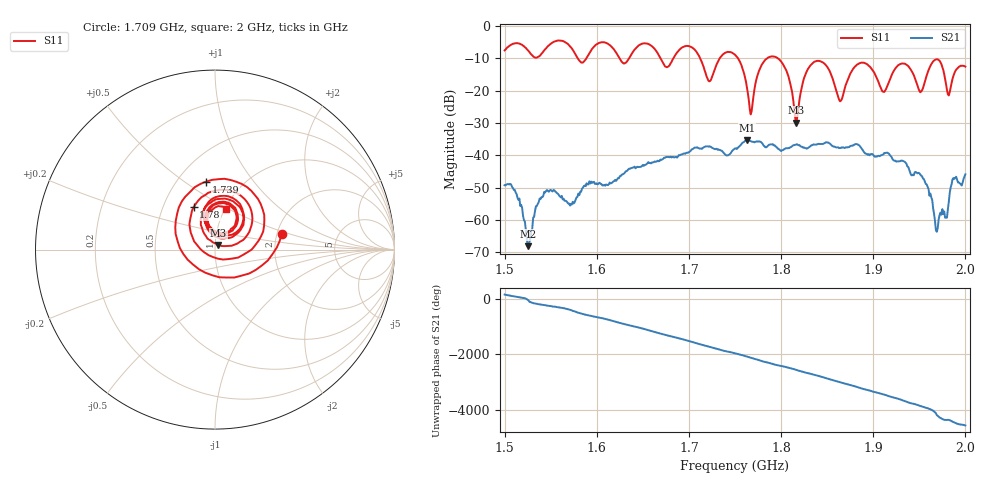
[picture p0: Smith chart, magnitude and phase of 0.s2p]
! NanoVNA-App by SYSJOINT et al v1.1.209 (+OD18)
! Date: 2026-01-21 14:25:08
! Start: 1,5GHz Stop: 2GHz Points: 501
! S-Parameter data: F S11 S21 S12 S22
# Hz S RI R 50
!  Frequency  S11_Real  S11_Imag  S21_Real  S21_Imag  S12_Real  S12_Imag  S22_Real  S22_Imag
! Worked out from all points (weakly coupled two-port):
!   501 points, 1.5 GHz to 2 GHz, reference 50 ohm
!   highest |S21| = -35.39 dB at 1.763 GHz (marker M1); lowest = -68.1 dB at 1.525 GHz (marker M2)
!   lowest |S11| = -29.9 dB at 1.816 GHz (marker M3), VSWR 1.07, Z = 51.8 + j2.74 ohm
!   |S11| at or under -10 dB: 1.712 GHz to 1.733 GHz (21.19 MHz wide, 1.23 % of centre); 1.753 GHz to 1.785 GHz (31.5 MHz wide, 1.78 % of centre); 1.796 GHz to end of sweep (the widest 3 of 6)
!   S12 and S22 are empty: the file has one direction only
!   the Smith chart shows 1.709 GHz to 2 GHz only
!   S11 on the Smith chart (normalised r, x): 1.709 GHz: 2.12, +0.44; 1.739 GHz: 0.69, +0.61; 1.78 GHz: 0.71, +0.36; 2 GHz: 1.01, +0.49
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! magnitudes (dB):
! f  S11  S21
! 1.5 GHz  -7.5  -49.2
! 1.525 GHz  -7.4  -68.1
! 1.545 GHz  -6.9  -51.0
! 1.584 GHz  -11.3  -50.3
! 1.667 GHz  -8.9  -41.8
! 1.709 GHz  -8.3  -37.5
! 1.722 GHz  -17.1  -37.2
! 1.739 GHz  -8.4  -39.6
! 1.75 GHz  -8.9  -37.9
! 1.763 GHz  -19.0  -35.4
! 1.768 GHz  -26.4  -35.7
! 1.78 GHz  -11.6  -36.4
! 1.802 GHz  -11.8  -38.4
! 1.816 GHz  -29.9  -36.7
! 1.834 GHz  -11.6  -36.8
! 1.864 GHz  -23.3  -37.7
! 1.886 GHz  -11.4  -37.3
! 1.917 GHz  -17.3  -39.5
! 1.953 GHz  -19.8  -46.5
! 1.969 GHz  -10.3  -63.6
! 1.982 GHz  -21.5  -54.4
! 2 GHz  -12.5  -45.9
